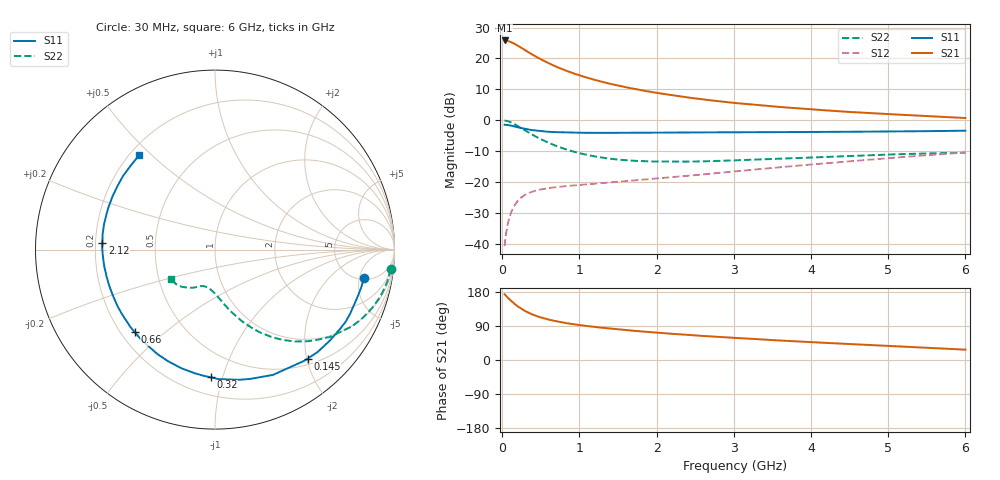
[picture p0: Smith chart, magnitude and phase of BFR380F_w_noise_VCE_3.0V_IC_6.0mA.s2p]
! Infineon Technologies  Discrete & RF Semiconductors
! BFR380F
! VCE =  3.0 V,  IC =  6.0 mA
! Common Emitter S-Parameters:  Nov 2015
# GHz  S  MA  R  50
!  f  S11  S21  S12  S22
! GHz  MAG  ANG  MAG  ANG  MAG  ANG  MAG  ANG
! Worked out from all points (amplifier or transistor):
!   206 points, 30 MHz to 6 GHz, reference 50 ohm
!   highest |S21| = 25.8 dB at 30 MHz (marker M1)
!   |S21| within 3 dB of that: start of sweep to 286.6 MHz
!   unconditionally stable (mu >= 1): 2.123 GHz to 5.099 GHz
!   at 200 MHz: K = 0.15, MSG = 25.1 dB, |S12| = -26.2 dB
!   at 1.56 GHz: K = 0.87, MSG = 15.4 dB, |S12| = -19.8 dB
!   at 6 GHz: K = 0.97, MSG = 5.6 dB, |S12| = -10.5 dB
!   lowest NFmin = 0.78 dB at 900 MHz
!   S11 on the Smith chart (normalised r, x): 30 MHz: 5.30, -5.85; 145 MHz: 0.61, -2.02; 320 MHz: 0.32, -0.91; 660 MHz: 0.26, -0.40; 2.12 GHz: 0.23, +0.03; 6 GHz: 0.24, +0.46
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0.03  0.8446 -10.8  19.52 173.3  0.0091 84.6  0.9854 -6.4
0.05  0.837 -18.2  19.5 168.5  0.0149 80.9  0.9762 -10.6
0.06  0.8334 -21.7  19.38 166.8  0.0176 79.0  0.9693 -12.6
0.09  0.8259 -32.0  18.83 160.6  0.026 74.3  0.9436 -18.6
0.145  0.7972 -49.6  17.56 150.4  0.0388 66.0  0.8796 -28.5
0.2  0.7692 -65.2  16.09 141.4  0.0492 59.2  0.8059 -37.1
0.26  0.7377 -79.5  14.48 133.6  0.0577 53.4  0.727 -44.6
0.32  0.7118 -92.0  13.02 126.8  0.064 48.9  0.6545 -50.9
0.4  0.6873 -105.7  11.33 119.3  0.0702 44.5  0.5719 -57.7
0.45  0.6749 -112.8  10.44 115.4  0.0732 42.5  0.5288 -61.2
0.5  0.6644 -119.0  9.64 112.2  0.0756 41.0  0.4905 -64.2
0.6  0.649 -129.3  8.333 106.6  0.0794 39.0  0.4287 -69.2
0.66  0.6413 -134.2  7.716 104.0  0.0811 38.4  0.3996 -71.5
0.8  0.632 -144.2  6.505 98.3  0.0848 37.5  0.3433 -76.8
1.04  0.6236 -156.1  5.126 91.1  0.0901 38.1  0.2839 -83.5
1.42  0.6229 -168.9  3.821 82.4  0.0986 41.1  0.2357 -92.3
2.02  0.6287 178.3  2.741 71.9  0.1141 46.8  0.214 -102.4
2.12  0.6287 176.6  2.623 70.4  0.117 47.7  0.2134 -103.7
3.1  0.6355 163.4  1.855 57.4  0.1512 54.7  0.2254 -114.1
4.1  0.6439 151.4  1.466 46.1  0.196 57.8  0.2508 -122.0
5.1  0.6569 140.2  1.235 36.1  0.2475 58.0  0.2799 -133.0
6  0.6744 128.9  1.082 27.3  0.2986 55.3  0.2959 -146.7
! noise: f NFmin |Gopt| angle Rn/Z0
0.45  0.8  0.21  49  0.1
0.9  0.78  0.23  98  0.12
1.8  1.15  0.36  153  0.08
1.9  1.26  0.37  155  0.08
2.4  1.43  0.4  172  0.08
3.5  2.15  0.49  -163  0.1
